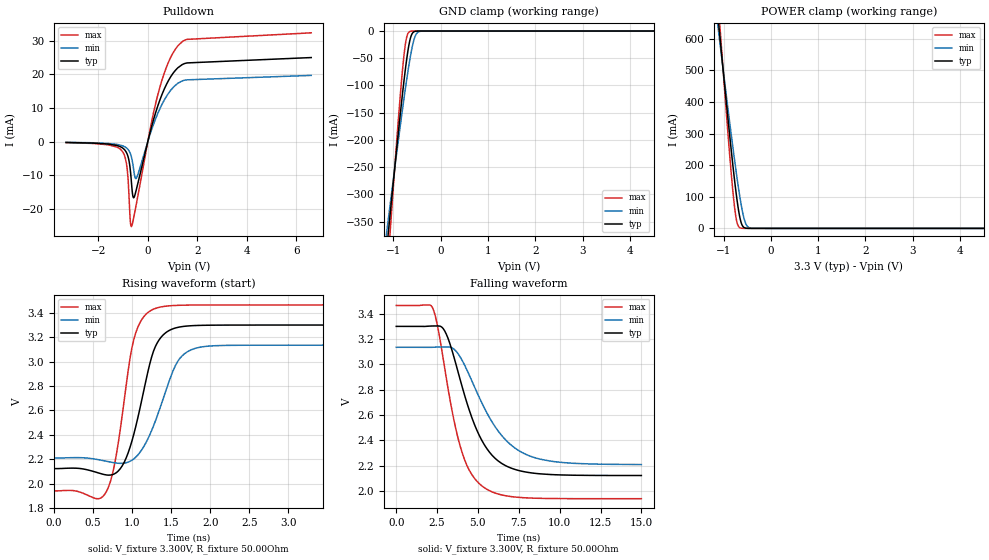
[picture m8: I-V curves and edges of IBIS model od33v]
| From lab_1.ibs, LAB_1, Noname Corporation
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[Model]   od33v
Model_type   I/O_open_sink
Vinl = 800.000mV
Vinh = 2.000V
Vmeas = 1.400V
Vref = 1.400V
Cref = 5.000pF
Rref = 100.000Ohm
|   typ   min   max
C_comp   4.550pF   2.600pF   6.500pF
[Voltage Range]   3.300V   3.135V   3.465V
[Temperature Range]   50.0   100.0   0.0
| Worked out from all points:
|   slope of the pulldown table from 0 to 0.495 V, typ, clamps not added: 39.6 ohm
|   GND clamp passes 1 mA (typ) near -0.56 V on its own axis
|   POWER clamp passes 1 mA (typ) near -0.54 V on its own axis
|   falling waveform, V_fixture 3.300V, R_fixture 50.00Ohm: 20-80 % time 1.91ns typ, 2.42ns min, 1.46ns max; typ from 3.3 V to 2.12 V
|   rising waveform, V_fixture 3.300V, R_fixture 50.00Ohm: 20-80 % time 261ps typ, 319ps min, 213ps max; typ from 2.12 V to 3.3 V
[Pulldown]
|   Voltage   I(typ)   I(min)   I(max)
-3.3V     -256.4uA   -208.9uA   -311.8uA
-1.04V    -1.786mA   -1.195mA   -2.784mA
-840mV    -3.589mA   -2.018mA   -7.696mA
-785mV    -4.824mA   -2.467mA   -12.52mA
-710mV    -8.173mA   -3.47mA    -23.22mA
-665mV    -11.73mA   -4.471mA   -25.24mA
-590mV    -16.53mA   -7.344mA   -23.33mA
-465mV    -14.31mA   -10.91mA   -18.6mA
415mV     10.84mA    8.569mA    14.2mA
845mV     18.27mA    14.46mA    23.76mA
1.22V     21.96mA    17.35mA    28.49mA
6.6V      24.96mA    19.66mA    32.31mA
[GND Clamp]
|   Voltage   I(typ)   I(min)   I(max)
-3.3V     -2.416A    -1.934A    -3.285A
-1.14V    -399.6mA   -368.2mA   -457.3mA
-1.095V   -359.4mA   -336.9mA   -401.3mA
-1.065V   -332.8mA   -316.1mA   -364.2mA
-900mV    -190.1mA   -204mA     -167.9mA
-795mV    -105.4mA   -135.7mA   -59.93mA
-730mV    -58.86mA   -95.74mA   -15.61mA
-650mV    -16.44mA   -51.23mA   -860.1uA
-605mV    -5.03mA    -30.33mA   -124.6uA
-545mV    -680.9uA   -10.68mA   -9.758uA
-415mV    -6.553uA   -288.9uA   -39.92nA
6.6V      0A         0A         0A
[POWER Clamp]
|   Voltage   I(typ)   I(min)   I(max)
-3.3V     4.234A     3.486A     5.484A
-1.115V   666mA      635.7mA    719.1mA
-1.09V    627mA      604.4mA    667.2mA
-1.05V    564.9mA    554.6mA    585mA
-875mV    301.5mA    341.4mA    241.3mA
-780mV    169.5mA    231.1mA    84.52mA
-715mV    90.19mA    159.9mA    18.73mA
-650mV    31.09mA    95.27mA    1.638mA
-600mV    8.404mA    53.33mA    201.2uA
-545mV    1.357mA    20.63mA    19.51uA
-415mV    13.11uA    576.9uA    78.41nA
6.6V      0A         0A         0A
[Ramp]
R_load = 50.00Ohm
|   typ   min   max
dV/dt_r   706.191mV/261.272ps 555.207mV/319.123ps 914.909mV/213.470ps
dV/dt_f   706.191mV/1.911ns   555.207mV/2.417ns   914.909mV/1.464ns
[Falling Waveform]
V_fixture = 3.300V
V_fixture_min = 3.135V
V_fixture_max = 3.465V
R_fixture = 50.00Ohm
|   Time   V(typ)   V(min)   V(max)
0s        3.3V       3.135V     3.465V
2.225ns   3.303V     3.135V     3.446V
2.525ns   3.303V     3.137V     3.306V
2.975ns   3.262V     3.137V     2.964V
3.875ns   2.898V     3.067V     2.374V
4.475ns   2.637V     2.914V     2.164V
5.25ns    2.398V     2.693V     2.04V
6.5ns     2.215V     2.432V     1.969V
8.1ns     2.147V     2.281V     1.946V
15ns      2.123V     2.21V      1.94V
[Rising Waveform]
V_fixture = 3.300V
V_fixture_min = 3.135V
V_fixture_max = 3.465V
R_fixture = 50.00Ohm
|   Time   V(typ)   V(min)   V(max)
0s        2.123V     2.21V      1.94V
675ps     2.07V      2.183V     1.937V
775ps     2.08V      2.171V     2.151V
875ps     2.145V     2.166V     2.56V
1.05ns    2.472V     2.217V     3.239V
1.25ns    3.035V     2.433V     3.422V
1.4ns     3.22V      2.698V     3.452V
1.625ns   3.286V     3.036V     3.462V
2.05ns    3.299V     3.13V      3.465V
15ns      3.3V       3.135V     3.465V
